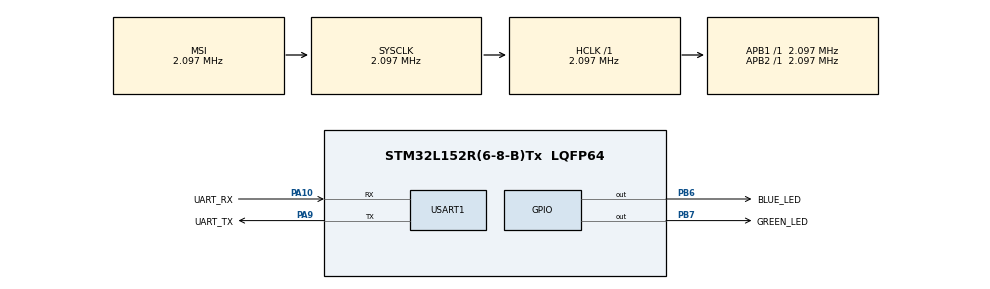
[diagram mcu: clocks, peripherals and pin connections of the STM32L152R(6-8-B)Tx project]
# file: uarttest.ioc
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Mcu.Family=STM32L1
Mcu.Name=STM32L152R(6-8-B)Tx
Mcu.Package=LQFP64
NVIC.PriorityGroup=NVIC_PRIORITYGROUP_4
NVIC.USART1_IRQn=true\:0\:0\:false\:false\:true\:false\:true\:true
PA10.GPIO_Label=UART_RX
PA10.Mode=Asynchronous
PA10.Signal=USART1_RX
PA13.Mode=Trace_Asynchronous_SW
PA13.Signal=SYS_JTMS-SWDIO
PA14.Mode=Trace_Asynchronous_SW
PA14.Signal=SYS_JTCK-SWCLK
PA9.GPIO_Label=UART_TX
PA9.Mode=Asynchronous
PA9.Signal=USART1_TX
PB3.Mode=Trace_Asynchronous_SW
PB3.Signal=SYS_JTDO-TRACESWO
PB6.GPIO_Label=BLUE_LED
PB6.Signal=GPIO_Output
PB7.GPIO_Label=GREEN_LED
PB7.Signal=GPIO_Output
ProjectManager.HeapSize=0x200
ProjectManager.StackSize=0x400
ProjectManager.TargetToolchain=CMake
RCC.AHBFreq_Value=2097000
RCC.APB1Freq_Value=2097000
RCC.APB2Freq_Value=2097000
RCC.HSE_VALUE=24000000
RCC.HSI_VALUE=16000000
RCC.LSE_VALUE=32768
RCC.MSI_VALUE=2097000
RCC.SYSCLKFreq_VALUE=2097000
RCC.VCOOutputFreq_Value=48000000
USART1.VirtualMode=VM_ASYNC
board=custom

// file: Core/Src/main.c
/* USER CODE BEGIN Header */
/**
  ******************************************************************************
  * @file           : main.c
  * @brief          : Main program body
  ******************************************************************************
  * @attention
  *
  * Copyright (c) 2025 STMicroelectronics.
  * All rights reserved.
  *
  * This software is licensed under terms that can be found in the LICENSE file
  * in the root directory of this software component.
  * If no LICENSE file comes with this software, it is provided AS-IS.
  *
  ******************************************************************************
  */
/* USER CODE END Header */
#include "main.h"

/* USER CODE BEGIN Includes */
#include "msgpack.h"

/* USER CODE END Includes */

UART_HandleTypeDef huart1;

void SystemClock_Config(void);
static void MX_GPIO_Init(void);
static void MX_USART1_UART_Init(void);

/* USER CODE BEGIN 0 */

typedef uint8_t u8;
typedef uint16_t u16;
typedef uint32_t u32;

typedef struct {
  u32 start, interval;
} Timer;

u8 Timer_Expired(Timer* tm) {
  return (HAL_GetTick() - tm->start) > tm->interval;
}

void Timer_Start(Timer* tm, u32 intrv) {
  tm->interval = intrv;
  tm->start = HAL_GetTick();
}

void Timer_Restart(Timer* tm) {
  tm->start = HAL_GetTick();
}

void zeromem(u8* data, u32 sz) {
  u32 count = sz / sizeof(u32);
  u32* buffer = (u32*)data;

  while(--count >= 0) {
    buffer[count] = 0;
  }

  sz -= count * sizeof(32);

  if (sz == 1) {
    data[0] = 0;
  }
  else if (sz == 2) {
    data[0] = 0;
    data[1] = 0;
  }
  else if (sz == 3) {
    data[0] = 0;
    data[1] = 0;
    data[2] = 0;
  }
}

void copy(u8* dst, const u8* src, u32 sz) {
  while (--sz > 0) {
    dst[sz] = src[sz];
  }
}

/* USER CODE END 0 */

int main(void)
{

  /* MCU Configuration--------------------------------------------------------*/

  /* Reset of all peripherals, Initializes the Flash interface and the Systick. */
  HAL_Init();

  /* Configure the system clock */
  SystemClock_Config();

  /* Initialize all configured peripherals */
  MX_GPIO_Init();
  MX_USART1_UART_Init();
  /* USER CODE BEGIN 2 */

#define MAX_BUFFER_SIZE 255  // bytes

  Timer check;

  // u8 data_size = 0;
  // u8 buffer[MAX_BUFFER_SIZE];

  Timer_Start(&check, 1000);

  const u8 data[] = "bad size\r\n";
  const u16 data_size = sizeof(data);

  msgpack_sbuffer sbuf;
  msgpack_sbuffer_init(&sbuf);
  msgpack_sbuffer_destroy(&sbuf);

  /* USER CODE END 2 */

  /* Infinite loop */
  /* USER CODE BEGIN WHILE */

  while (1)
  {
    if (Timer_Expired(&check)) {
      HAL_StatusTypeDef status = HAL_UART_Transmit(&huart1, data, data_size, 30 * 1000);
      switch(status) {
      case HAL_ERROR:
        Error_Handler();

        case HAL_BUSY:
        case HAL_TIMEOUT:
        default:
          HAL_UART_AbortTransmit(&huart1);
      }
      Timer_Restart(&check);
    }
    // HAL_StatusTypeDef status = HAL_UART_Receive(&huart1, &data_size, 1, 200);
    // switch(status) {
    //   case HAL_ERROR:
    //     Error_Handler();

    //   case HAL_BUSY:
    //   case HAL_TIMEOUT:
    //   default:
    //     continue;
    // }

    // data_size -= 30;
    // if (data_size > 0) {
    //   zeromem(buffer, MAX_BUFFER_SIZE);

    //   status = HAL_UART_Receive(&huart1, buffer, data_size, 30 * 1000);  // timeout 30 seconds

    // }
    // else {
    //   HAL_UART_AbortReceive(&huart1);
    //   const u8 data[] = "bad size\0";
    //   data_size = sizeof(data);
    //   copy(buffer, data, data_size);
    // }

    // status = HAL_UART_Transmit(&huart1, buffer, data_size, 30 * 1000);  // timeout 30 seconds
    // if (status != HAL_OK) {
    //   HAL_UART_AbortTransmit(&huart1);
    // }

    /* USER CODE END WHILE */

  }
}

void SystemClock_Config(void)
{
  RCC_OscInitTypeDef RCC_OscInitStruct = {0};
  RCC_ClkInitTypeDef RCC_ClkInitStruct = {0};

  /** Configure the main internal regulator output voltage
  */
  __HAL_PWR_VOLTAGESCALING_CONFIG(PWR_REGULATOR_VOLTAGE_SCALE1);

  /** Initializes the RCC Oscillators according to the specified parameters
  * in the RCC_OscInitTypeDef structure.
  */
  RCC_OscInitStruct.OscillatorType = RCC_OSCILLATORTYPE_MSI;
  RCC_OscInitStruct.MSIState = RCC_MSI_ON;
  RCC_OscInitStruct.MSICalibrationValue = 0;
  RCC_OscInitStruct.MSIClockRange = RCC_MSIRANGE_5;
  RCC_OscInitStruct.PLL.PLLState = RCC_PLL_NONE;
  if (HAL_RCC_OscConfig(&RCC_OscInitStruct) != HAL_OK)
  {
    Error_Handler();
  }

  /** Initializes the CPU, AHB and APB buses clocks
  */
  RCC_ClkInitStruct.ClockType = RCC_CLOCKTYPE_HCLK|RCC_CLOCKTYPE_SYSCLK
                              |RCC_CLOCKTYPE_PCLK1|RCC_CLOCKTYPE_PCLK2;
  RCC_ClkInitStruct.SYSCLKSource = RCC_SYSCLKSOURCE_MSI;
  RCC_ClkInitStruct.AHBCLKDivider = RCC_SYSCLK_DIV1;
  RCC_ClkInitStruct.APB1CLKDivider = RCC_HCLK_DIV1;
  RCC_ClkInitStruct.APB2CLKDivider = RCC_HCLK_DIV1;

  if (HAL_RCC_ClockConfig(&RCC_ClkInitStruct, FLASH_LATENCY_0) != HAL_OK)
  {
    Error_Handler();
  }
}

static void MX_USART1_UART_Init(void)
{

  huart1.Instance = USART1;
  huart1.Init.BaudRate = 115200;
  huart1.Init.WordLength = UART_WORDLENGTH_8B;
  huart1.Init.StopBits = UART_STOPBITS_1;
  huart1.Init.Parity = UART_PARITY_NONE;
  huart1.Init.Mode = UART_MODE_TX_RX;
  huart1.Init.HwFlowCtl = UART_HWCONTROL_NONE;
  huart1.Init.OverSampling = UART_OVERSAMPLING_16;
  if (HAL_UART_Init(&huart1) != HAL_OK)
  {
    Error_Handler();
  }

}

static void MX_GPIO_Init(void)
{
  GPIO_InitTypeDef GPIO_InitStruct = {0};

  /* GPIO Ports Clock Enable */
  __HAL_RCC_GPIOA_CLK_ENABLE();
  __HAL_RCC_GPIOB_CLK_ENABLE();

  /*Configure GPIO pin Output Level */
  HAL_GPIO_WritePin(GPIOB, BLUE_LED_Pin|GREEN_LED_Pin, GPIO_PIN_RESET);

  /*Configure GPIO pins : BLUE_LED_Pin GREEN_LED_Pin */
  GPIO_InitStruct.Pin = BLUE_LED_Pin|GREEN_LED_Pin;
  GPIO_InitStruct.Mode = GPIO_MODE_OUTPUT_PP;
  GPIO_InitStruct.Pull = GPIO_NOPULL;
  GPIO_InitStruct.Speed = GPIO_SPEED_FREQ_LOW;
  HAL_GPIO_Init(GPIOB, &GPIO_InitStruct);

}

void Error_Handler(void)
{
  /* USER CODE BEGIN Error_Handler_Debug */
  /* User can add his own implementation to report the HAL error return state */

  HAL_GPIO_WritePin(BLUE_LED_GPIO_Port, BLUE_LED_Pin, GPIO_PIN_SET);

  __disable_irq();

  while (1) {}
  /* USER CODE END Error_Handler_Debug */
}
